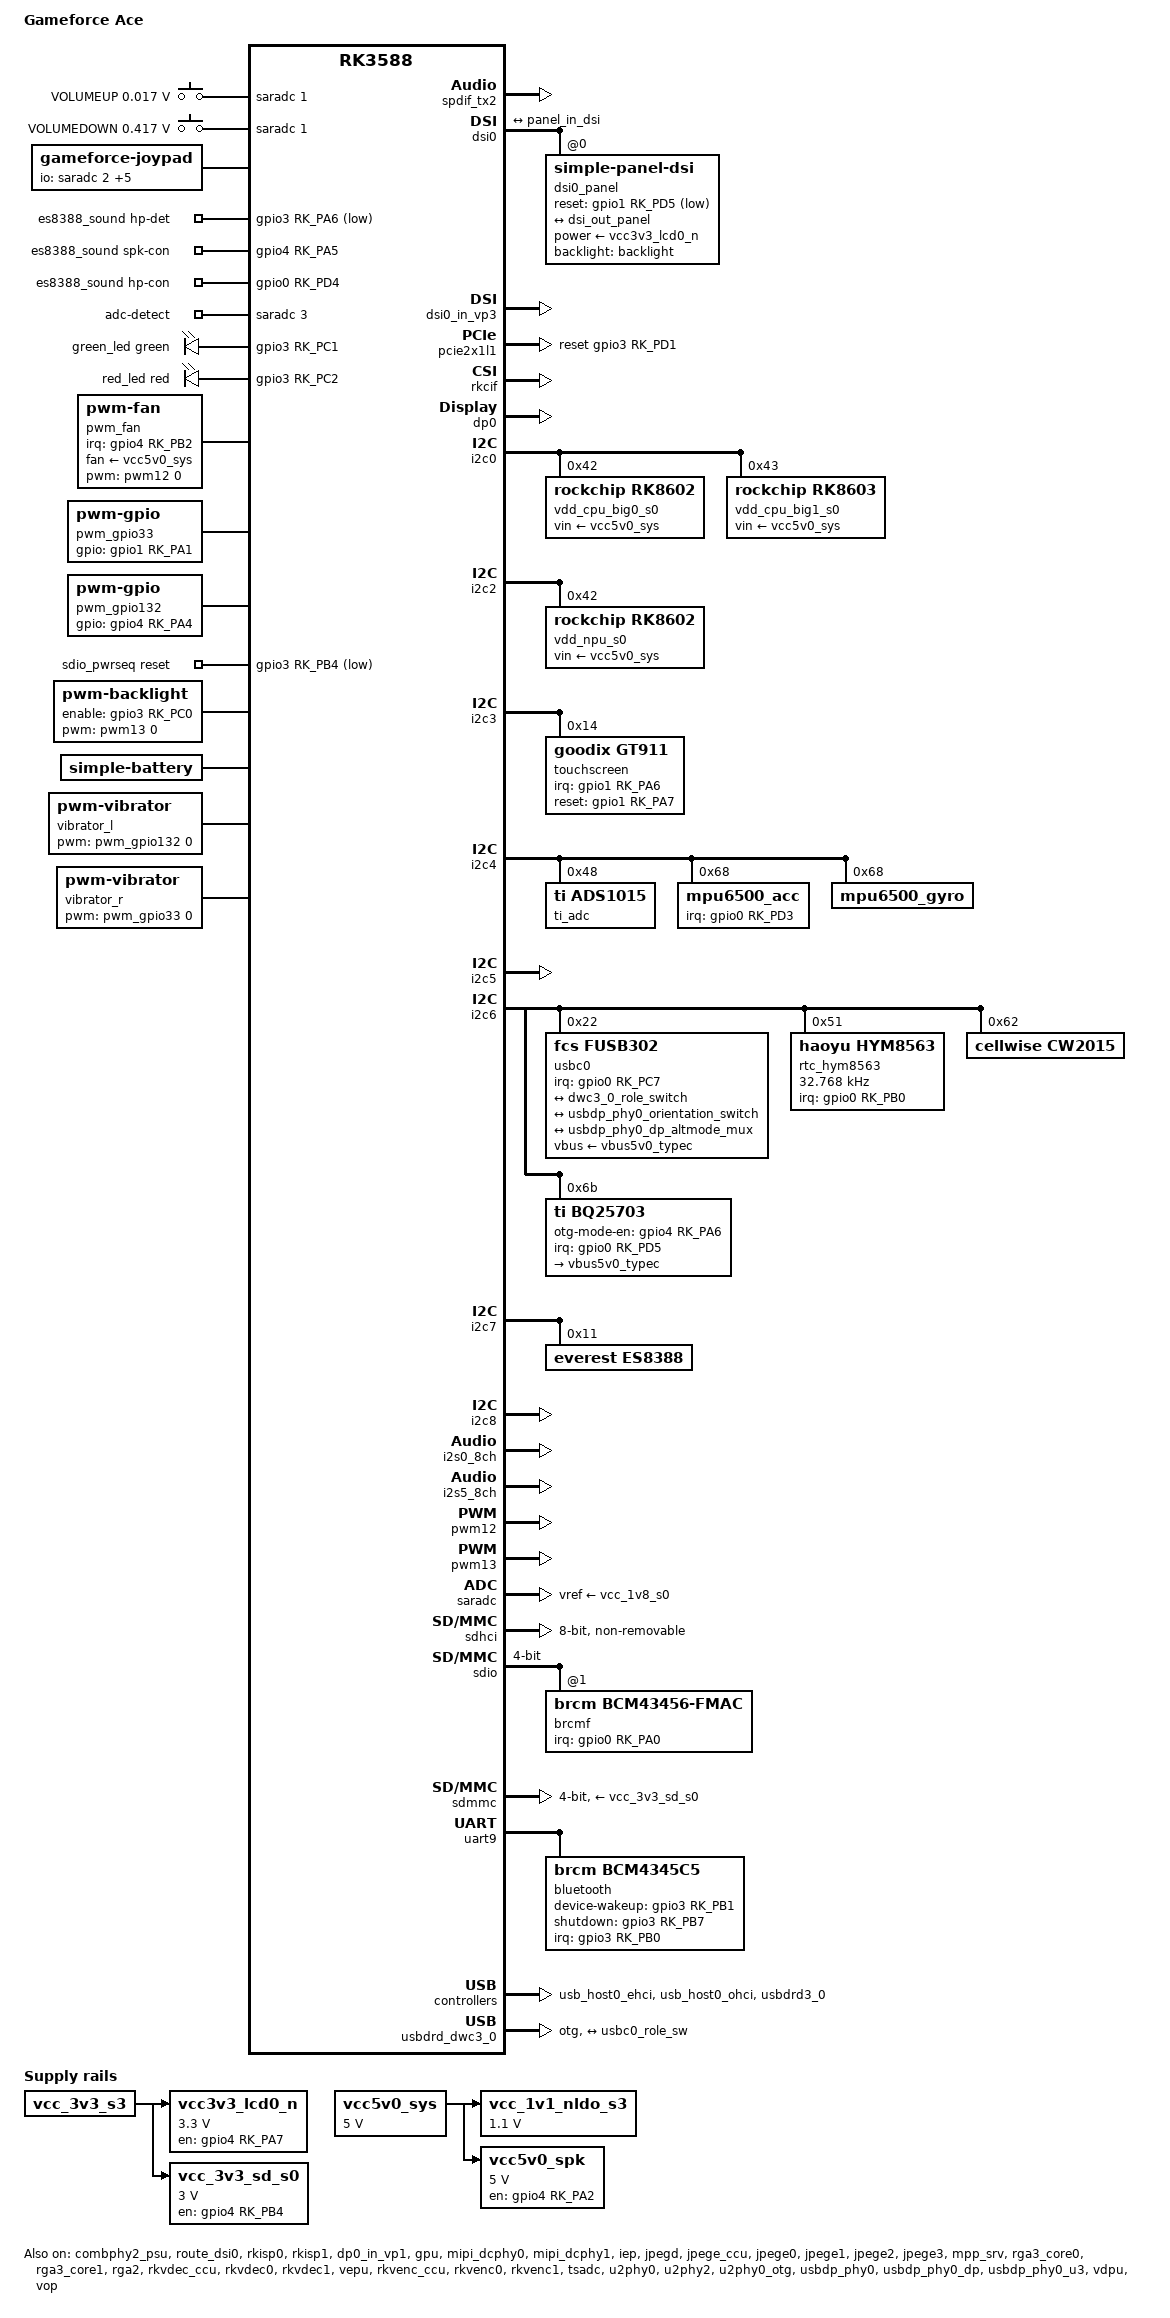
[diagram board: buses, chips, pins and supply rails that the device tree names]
// SPDX-License-Identifier: (GPL-2.0+ OR MIT)
/*
 * Copyright (c) 2021 Rockchip Electronics Co., Ltd.
 * Copyright (c) 2024 Romain Tisserand (https://github.com/rtissera)
 * Copyright (c) 2024 r3claimer (https://github.com/r3claimer)
 * Copyright (c) 2024 Juliano Dorigão (https://github.com/jdorigao)
 *
 */

/dts-v1/;

#include <dt-bindings/gpio/gpio.h>
#include <dt-bindings/input/linux-event-codes.h>
#include <dt-bindings/display/drm_mipi_dsi.h>
#include <dt-bindings/display/rockchip_vop.h>
#include <dt-bindings/sensor-dev.h>
#include <dt-bindings/leds/common.h>
#include <dt-bindings/pinctrl/rockchip.h>
#include <dt-bindings/pwm/pwm.h>
#include <dt-bindings/usb/pd.h>
#include "rockchip/rk3588s.dtsi"
#include "rockchip/rk3588-rk806-single.dtsi"

/ {
	model = "Gameforce Ace";
    chassis-type = "handset";
	compatible = "gameforce,ace", "rockchip,rk3588";

	aliases {
		mmc0 = &sdhci;
		mmc1 = &sdmmc;
		mmc2 = &sdio;
	};

    chosen {
		stdout-path = "serial2:1500000n8";
	};

    adc_keys: adc-keys {
		compatible = "adc-keys";
		io-channels = <&saradc 1>;
		io-channel-names = "buttons";
		keyup-threshold-microvolt = <1800000>;
		poll-interval = <60>;

		button-vol-up {
			label = "VOLUMEUP";
			linux,code = <KEY_VOLUMEUP>;
			press-threshold-microvolt = <17000>;
		};

		button-vol-down {
			label = "VOLUMEDOWN";
			linux,code = <KEY_VOLUMEDOWN>;
			press-threshold-microvolt = <417000>;
		};
	};

    joypad: gameforce-ace-joypad {
		compatible = "gameforce-joypad";
		poll-interval = <10>;
		status = "okay";

		joypad-name = "GameForce ACE Gamepad";
		joypad-product = <0x1000>;
		joypad-revision = <0x0100>;

		/* Analog sticks */
		io-channels = <&saradc 2>, <&saradc 3>, <&saradc 4>, <&saradc 5>, <&ti_adc 6>, <&ti_adc 7>;
		io-channel-names = "key-RY", "key-RX", "key-X", "key-Y", "key-Z", "key-RZ";
		button-adc-scale = <4>;
		button-adc-deadzone = <150>;
		button-adc-fuzz = <32>;
		button-adc-flat = <32>;
		abs_x-p-tuning = <350>;
		abs_x-n-tuning = <350>;
		abs_y-p-tuning = <350>;
		abs_y-n-tuning = <350>;
		abs_z-p-tuning = <350>;
		abs_z-n-tuning = <350>;
		abs_rx-p-tuning = <350>;
		abs_rx-n-tuning = <350>;
		abs_ry-p-tuning = <350>;
		abs_ry-n-tuning = <350>;
		abs_rz-p-tuning = <350>;
		abs_rz-n-tuning = <350>;

		/* Buttons */
		sw1 {
			gpios = <&gpio1 RK_PA0 0x01>;
			label = "GPIO Key MODE";
			linux,code = <BTN_MODE>;
		};
		sw2 {
			gpios = <&gpio1 RK_PB0 0x01>;
			label = "GPIO Key HOME";
			linux,code = <BTN_C>;
		};
		sw3 {
			gpios = <&gpio1 RK_PB6 0x01>;
			label = "GPIO Key START";
			linux,code = <BTN_START>;
		};
		sw4 {
			gpios = <&gpio1 RK_PA3 0x01>;
			label = "GPIO Key SELECT";
			linux,code = <BTN_SELECT>;
		};
		sw5 {
			gpios = <&gpio1 RK_PA2 0x01>;
			label = "GPIO Key Up";
			linux,code = <BTN_DPAD_UP>;
		};
		sw6 {
			gpios =  <&gpio1 RK_PB1 0x01>;
			label = "GPIO Key Down";
			linux,code = <BTN_DPAD_DOWN>;
		};
		sw7 {
			gpios = <&gpio1 RK_PD7 0x01>;
			label = "GPIO Key Left";
			linux,code = <BTN_DPAD_LEFT>;
		};
		sw8 {
			gpios = <&gpio1 RK_PB7 0x01>;
			label = "GPIO Key Right";
			linux,code = <BTN_DPAD_RIGHT>;
		};
		sw9 {
			gpios = <&gpio1 RK_PB4 0x01>;
			label = "GPIO Key X";
			linux,code = <BTN_NORTH>;
		};
		sw10 {
			gpios = <&gpio1 RK_PB3 0x01>;
			label = "GPIO Key Y";
			linux,code = <BTN_WEST>;
		};
		sw11 {
			gpios = <&gpio1 RK_PC6 0x01>;
			label = "GPIO Key B";
			linux,code = <BTN_EAST>;
		};
		sw12 {
			gpios = <&gpio1 RK_PA5 0x01>;
			label = "GPIO Key A";
			linux,code = <BTN_SOUTH>;
		};
		sw13 {
			gpios = <&gpio1 RK_PA4 0x01>;
			label = "GPIO Key THU";
			linux,code = <BTN_THUMBL>;
		};
		sw14 {
			gpios = <&gpio1 RK_PB5 0x01>;
			label = "GPIO Key TL";
			linux,code = <BTN_TL>;
		};
		sw15 {
			gpios = <&gpio1 RK_PB2 0x01>;
			label = "GPIO Key TR";
			linux,code = <BTN_TR>;
		};
		sw16 {
			gpios = <&gpio1 RK_PD6 0x01>;
			label = "GPIO Key THUMBR";
			linux,code = <BTN_THUMBR>;
		};
	};

    es8388_sound: es8388-sound {
		status = "okay";
		compatible = "rockchip,multicodecs-card","everest,es8388";
		rockchip,card-name = "rockchip,es8388-codec";
		hp-det-gpio = <&gpio3 RK_PA6 GPIO_ACTIVE_LOW>;
		io-channels = <&saradc 3>;
		io-channel-names = "adc-detect";
		keyup-threshold-microvolt = <1800000>;
		poll-interval = <100>;
		spk-con-gpio = <&gpio4 RK_PA5 GPIO_ACTIVE_HIGH>;
		hp-con-gpio = <&gpio0 RK_PD4 GPIO_ACTIVE_HIGH>;
		rockchip,format = "i2s";
		rockchip,mclk-fs = <256>;
		rockchip,cpu = <&i2s0_8ch>;
		rockchip,codec = <&es8388>;
		spk-volume = <50>;
		spk-volume-l = <50>;
		spk-volume-r = <50>;
        use-ext-amplifier;
		hp-volume = <20>;
		out-l2spk-r2hp;

		rockchip,audio-routing =
			"Headphone", "LOUT1",
			"Headphone", "ROUT1",
			"Speaker", "LOUT2",
			"Speaker", "ROUT2",
			"Headphone", "Headphone Power",
			"Headphone", "Headphone Power",
			"Speaker", "Speaker Power",
			"Speaker", "Speaker Power",
			"LINPUT1", "Main Mic",
			"LINPUT2", "Main Mic",
			"RINPUT1", "Headset Mic",
			"RINPUT2", "Headset Mic";

		pinctrl-names = "default";
		pinctrl-0 = <&hp_det>;
		play-pause-key {
			label = "playpause";
			linux,code = <KEY_PLAYPAUSE>;
			press-threshold-microvolt = <2000>;
		};
	};

    gpio_leds: gpio-leds {
		compatible = "gpio-leds";
		pinctrl-names = "default";
		pinctrl-0 = <&led_pins>;

		green_led: led-0 {
			color = <LED_COLOR_ID_GREEN>;
			gpios = <&gpio3 RK_PC1 GPIO_ACTIVE_HIGH>;
			function = LED_FUNCTION_STATUS;
		};

		red_led: led-1 {
			color = <LED_COLOR_ID_RED>;
			gpios = <&gpio3 RK_PC2 GPIO_ACTIVE_HIGH>;
			function = LED_FUNCTION_CHARGING;
		};
	};

	pwm_fan: pwm-fan {
		compatible = "pwm-fan";
		#cooling-cells = <2>;
		cooling-levels = <0 120 150 180 210 240 255>;
		fan-supply = <&vcc5v0_sys>;
		interrupt-parent = <&gpio4>;
		interrupts = <RK_PB2 IRQ_TYPE_EDGE_RISING>;
		pulses-per-revolution = <4>;
		pwms = <&pwm12 0 50000 PWM_POLARITY_INVERTED>;
	};

    pwm_gpio33: pwm-33 {
		compatible = "pwm-gpio";
		gpios = <&gpio1 RK_PA1 GPIO_ACTIVE_HIGH>;
		pinctrl-0 = <&vib_right_h>;
		pinctrl-names = "default";
		#pwm-cells = <3>;
	};

	pwm_gpio132: pwm-132 {
		compatible = "pwm-gpio";
		gpios = <&gpio4 RK_PA4 GPIO_ACTIVE_HIGH>;
		pinctrl-0 = <&vib_left_h>;
		pinctrl-names = "default";
		#pwm-cells = <3>;
	};

	sdio_pwrseq: sdio-pwrseq {
		compatible = "mmc-pwrseq-simple";
		clock-names = "ext_clock";
		clocks = <&rtc_hym8563>;
		pinctrl-0 = <&wifi_enable_h>;
		pinctrl-names = "default";
		post-power-on-delay-ms = <200>;
		power-off-delay-us = <5000000>;
		reset-gpios = <&gpio3 RK_PB4 GPIO_ACTIVE_LOW>;
	};

	backlight: backlight {
		compatible = "pwm-backlight";
		enable-gpios = <&gpio3 RK_PC0 GPIO_ACTIVE_HIGH>;
		pinctrl-0 = <&lcd_bl_en>;
		pinctrl-names = "default";
		pwms = <&pwm13 0 25000 PWM_POLARITY_INVERTED>;
	};

    battery: battery {
		compatible = "simple-battery";
		charge-full-design-microamp-hours = <3700000>;
		constant-charge-current-max-microamp = <2500000>;
		constant-charge-voltage-max-microvolt = <8750000>;
		voltage-min-design-microvolt = <7400000>;
	};

	vibrator_l: vibrator-l {
		compatible = "pwm-vibrator";
		pwm-names = "enable";
		pwms = <&pwm_gpio132 0 20000000 0>;
	};

	vibrator_r: vibrator-r {
		compatible = "pwm-vibrator";
		pwm-names = "enable";
		pwms = <&pwm_gpio33 0 20000000 0>;
	};

	vcc_1v1_nldo_s3: regulator-vcc-1v1-nldo-s3 {
		compatible = "regulator-fixed";
		regulator-always-on;
		regulator-boot-on;
		regulator-max-microvolt = <1100000>;
		regulator-min-microvolt = <1100000>;
		regulator-name = "vcc_1v1_nldo_s3";
		vin-supply = <&vcc5v0_sys>;
	};

	vcc3v3_lcd0_n: regulator-vcc3v3-lcd0-n {
		compatible = "regulator-fixed";
		enable-active-high;
		gpio = <&gpio4 RK_PA7 GPIO_ACTIVE_HIGH>;
		pinctrl-0 = <&vcc_lcd_h>;
		pinctrl-names = "default";
		regulator-max-microvolt = <3300000>;
		regulator-min-microvolt = <3300000>;
		regulator-name = "vcc3v3_lcd0_n";
		vin-supply = <&vcc_3v3_s3>;
		regulator-state-mem {
			regulator-off-in-suspend;
		};
	};

	vcc_3v3_sd_s0: regulator-vcc-3v3-sd-s0 {
		compatible = "regulator-fixed";
		enable-active-high;
		gpio = <&gpio4 RK_PB4 GPIO_ACTIVE_HIGH>;
		pinctrl-0 = <&sd_s0_pwr>;
		pinctrl-names = "default";
		regulator-max-microvolt = <3000000>;
		regulator-min-microvolt = <3000000>;
		regulator-name = "vcc_3v3_sd_s0";
		vin-supply = <&vcc_3v3_s3>;
	};

	vcc5v0_spk: regulator-vcc5v0-spk {
		compatible = "regulator-fixed";
		enable-active-high;
		gpio = <&gpio4 RK_PA2 GPIO_ACTIVE_HIGH>;
		pinctrl-0 = <&vcc5v0_spk_pwr>;
		pinctrl-names = "default";
		regulator-max-microvolt = <5000000>;
		regulator-min-microvolt = <5000000>;
		regulator-name = "vcc5v0_spk";
		vin-supply = <&vcc5v0_sys>;
		regulator-state-mem {
			regulator-off-in-suspend;
		};
	};

	vcc5v0_sys: regulator-vcc5v0-sys {
		compatible = "regulator-fixed";
		regulator-always-on;
		regulator-boot-on;
		regulator-max-microvolt = <5000000>;
		regulator-min-microvolt = <5000000>;
		regulator-name = "vcc5v0_sys";
	};
};

&combphy2_psu {
	status = "okay";
};

&cpu_l0 {
	cpu-supply = <&vdd_cpu_lit_s0>;
};

&cpu_l1 {
	cpu-supply = <&vdd_cpu_lit_s0>;
};

&cpu_l2 {
	cpu-supply = <&vdd_cpu_lit_s0>;
};

&cpu_l3 {
	cpu-supply = <&vdd_cpu_lit_s0>;
};

&cpu_b0 {
	cpu-supply = <&vdd_cpu_big0_s0>;
};

&cpu_b1 {
	cpu-supply = <&vdd_cpu_big0_s0>;
};

&cpu_b2 {
	cpu-supply = <&vdd_cpu_big1_s0>;
};

&cpu_b3 {
	cpu-supply = <&vdd_cpu_big1_s0>;
};

&spdif_tx2{
    status = "okay";
};

&dsi0 {
	status = "okay";
	dsi0_panel: panel@0 {
		status = "okay";
		compatible = "simple-panel-dsi";
		reg = <0>;
		backlight = <&backlight>;
		reset-delay-ms = <120>;
		enable-delay-ms = <120>;
		init-delay-ms = <120>;
		stbyb-delay-ms = <120>;
		prepare-delay-ms = <120>;
		unprepare-delay-ms = <120>;
		disable-delay-ms = <120>;
		dsi,flags = <(MIPI_DSI_MODE_VIDEO | MIPI_DSI_MODE_VIDEO_BURST | MIPI_DSI_MODE_LPM)>;
		dsi,format = <MIPI_DSI_FMT_RGB888>;
		dsi,lanes  = <4>;
		width-mm = <68>;
		height-mm = <120>;
		rotation = <90>;
		panel-init-sequence = [
			39 00 04 B9 FF 83 99
			15 00 02 D2 77
			39 00 10 B1 02 04 74 94 01 32 33 11 11 AB 4D 56 73 02 02
			39 00 10 B2 00 80 80 AE 05 07 5A 11 00 00 10 1E 70 03 D4
			39 00 2d B4 00 FF 02 C0 02 C0 00 00 08 00 04 06 00 32 04 0A 08 21 03 01 00 0F B8 8B 02 C0 02 C0 00 00 08 00 04 06 00 32 04 0A 08 01 00 0F B8 01
			39 00 22 D3 00 00 00 00 00 00 06 00 00 10 04 00 04 00 00 00 00 00 00 00 00 00 00 01 00 05 05 07 00 00 00 05 40
			39 00 21 D5 18 18 19 19 18 18 21 20 01 00 07 06 05 04 03 02 18 18 18 18 18 18 2F 2F 30 30 31 31 18 18 18 18
			39 00 21 D6 18 18 19 19 40 40 20 21 02 03 04 05 06 07 00 01 40 40 40 40 40 40 2F 2F 30 30 31 31 40 40 40 40
			39 00 11 D8 A2 AA 02 A0 A2 A8 02 A0 B0 00 00 00 B0 00 00 00
			15 00 02 BD 01
			39 00 11 D8 B0 00 00 00 B0 00 00 00 E2 AA 03 F0 E2 AA 03 F0
			15 00 02 BD 02
			39 00 09 D8 E2 AA 03 F0 E2 AA 03 F0
			15 00 02 BD 00
			39 00 03 B6 7A 7A
			39 00 37 E0 00 18 27 24 5A 68 79 78 81 8A 92 99 9E A7 AF B4 B9 C3 C7 D1 C6 D4 D5 6C 67 71 77 00 00 18 27 24 5A 68 79 78 81 8A 92 99 9E A7 AF B4 B9 C3 C7 D1 C6 D4 D5 6C 67 77
			39 00 03 C6 FF F9
			15 00 02 CC 08
			05 78 01 11
			05 14 01 29
		];

		panel-exit-sequence = [
			05 00 01 28
			05 00 01 10
		];

		disp_timings0: display-timings {
			native-mode = <&dsi0_timing0>;
			dsi0_timing0: timing0 {
				clock-frequency = <134920000>;
				hactive = <1080>;
				vactive = <1920>;
				hfront-porch = <32>;
				hsync-len = <8>;
				hback-porch = <32>;
				vfront-porch = <16>;
				vsync-len = <2>;
				vback-porch = <14>;
				hsync-active = <0>;
				vsync-active = <0>;
				de-active = <0>;
				pixelclk-active = <1>;
			};
		};

		ports {
			#address-cells = <1>;
			#size-cells = <0>;

			port@0 {
				reg = <0>;
				panel_in_dsi: endpoint {
					remote-endpoint = <&dsi_out_panel>;
				};
			};
		};
	};

	ports {
		#address-cells = <1>;
		#size-cells = <0>;

		port@1 {
			reg = <1>;
			dsi_out_panel: endpoint {
				remote-endpoint = <&panel_in_dsi>;
			};
		};
	};

};

&dsi0_in_vp3 {
	status = "okay";
};

&route_dsi0 {
	status = "okay";
};

&dsi0_panel {
	power-supply = <&vcc3v3_lcd0_n>;
	reset-gpios = <&gpio1 RK_PD5 GPIO_ACTIVE_LOW>;
	pinctrl-names = "default";
	pinctrl-0 = <&lcd_rst_gpio>;
};

&pcie2x1l1 {
	reset-gpios = <&gpio3 RK_PD1 GPIO_ACTIVE_HIGH>;
	status = "okay";
};

&combphy2_psu {
    status = "okay";
};

&csi2_dphy0_hw {
	status = "disabled";
};

&csi2_dcphy0 {
	status = "disabled";
};

&mipi0_csi2 {
	status = "disabled";
};

&rkcif_mipi_lvds {
	status = "disabled";
};

&rkcif_mipi_lvds_sditf {
	status = "disabled";
};

&rkisp0_vir0 {
	status = "disabled";
};

&csi2_dcphy1 {
	status = "disabled";
};

&mipi1_csi2{
	status = "disabled";
};

&rkcif_mipi_lvds1 {
	status = "disabled";
};

&rkcif_mipi_lvds1_sditf {
	status = "disabled";
};

&rkisp0_vir1 {
	status = "disabled";
};

&csi2_dphy0 {
	status = "disabled";
};

&mipi2_csi2 {
	status = "disabled";
};

&rkcif_mipi_lvds2 {
	status = "disabled";
};

&rkcif_mipi_lvds2_sditf {
	status = "disabled";
};

&rkisp1_vir1 {
	status = "disabled";
};

&rkcif {
	status = "okay";
};

&rkcif_mmu {
	status = "okay";
};

&rkisp0 {
	status = "okay";
};

&rkisp1 {
	status = "okay";
};

&isp0_mmu {
	status = "okay";
};

&isp1_mmu {
	status = "okay";
};

&dp0 {
	status = "okay";

};
&dp0_in_vp1 {
	status = "okay";
};

&gpu {
	mali-supply = <&vdd_gpu_s0>;
	mem-supply = <&vdd_gpu_mem_s0>;
	upthreshold = <60>;
	downdifferential = <30>;
	status = "okay";
};

&i2c0 {
	status = "okay";
	pinctrl-names = "default";
	pinctrl-0 = <&i2c0m2_xfer>;

	vdd_cpu_big0_s0: vdd_cpu_big0_mem_s0: rk8602@42 {
		compatible = "rockchip,rk8602";
		reg = <0x42>;
		vin-supply = <&vcc5v0_sys>;
		regulator-compatible = "rk860x-reg";
		regulator-name = "vdd_cpu_big0_s0";
		regulator-min-microvolt = <550000>;
		regulator-max-microvolt = <1050000>;
		regulator-ramp-delay = <2300>;
		rockchip,suspend-voltage-selector = <1>;
		regulator-boot-on;
		regulator-always-on;
		regulator-state-mem {
			regulator-off-in-suspend;
		};
	};

	vdd_cpu_big1_s0: vdd_cpu_big1_mem_s0: rk8603@43 {
		compatible = "rockchip,rk8603";
		reg = <0x43>;
		vin-supply = <&vcc5v0_sys>;
		regulator-compatible = "rk860x-reg";
		regulator-name = "vdd_cpu_big1_s0";
		regulator-min-microvolt = <550000>;
		regulator-max-microvolt = <1050000>;
		regulator-ramp-delay = <2300>;
		rockchip,suspend-voltage-selector = <1>;
		regulator-boot-on;
		regulator-always-on;
		regulator-state-mem {
			regulator-off-in-suspend;
		};
	};
};

&i2c2 {
	status = "okay";

	vdd_npu_s0: vdd_npu_mem_s0: rk8602@42 {
		compatible = "rockchip,rk8602";
		reg = <0x42>;
		vin-supply = <&vcc5v0_sys>;
		regulator-compatible = "rk860x-reg";
		regulator-name = "vdd_npu_s0";
		regulator-min-microvolt = <550000>;
		regulator-max-microvolt = <950000>;
		regulator-ramp-delay = <2300>;
		rockchip,suspend-voltage-selector = <1>;
		regulator-boot-on;
		regulator-always-on;
		regulator-state-mem {
			regulator-off-in-suspend;
		};
	};
};

&i2c3 {
	status = "okay";

	touchscreen@14 {
		compatible = "goodix,gt911";
		reg = <0x14>;
		interrupt-parent = <&gpio1>;
		interrupts = <RK_PA6 IRQ_TYPE_LEVEL_LOW>;
		irq-gpios = <&gpio1 RK_PA6 GPIO_ACTIVE_HIGH>;
		pinctrl-0 = <&touch_int>, <&touch_rst>;
		pinctrl-names = "default";
		reset-gpios = <&gpio1 RK_PA7 GPIO_ACTIVE_HIGH>;
		touchscreen-size-x = <1080>;
		touchscreen-size-y = <1920>;
	};
};

&i2c4 {
	pinctrl-0 = <&i2c4m2_xfer>;
	status = "okay";

	ti_adc: adc@48 {
		compatible = "ti,ads1015";
		reg = <0x48>;
		#address-cells = <1>;
		#io-channel-cells = <1>;
		#size-cells = <0>;

		channel@4 {
			reg = <4>;
		};

		channel@5 {
			reg = <5>;
		};

		channel@6 {
			reg = <6>;
		};

		channel@7 {
			reg = <7>;
		};
	};

	mpu6500_acc: mpu_acc@68 {
		status = "okay";
		compatible = "mpu6500_acc";
		reg = <0x68>;
		irq-gpio = <&gpio0 RK_PD3 IRQ_TYPE_EDGE_RISING>;
		irq_enable = <0>;
		poll_delay_ms = <30>;
		type = <SENSOR_TYPE_ACCEL>;
		layout = <2>;
	};

    mpu6500_gyro: mpu_gyro@68 {
		status = "okay";
		compatible = "mpu6500_gyro";
		reg = <0x68>;
		poll_delay_ms = <30>;
		type = <SENSOR_TYPE_GYROSCOPE>;
		layout = <1>;
	};
};


&i2c5 {
	status = "okay";
	pinctrl-names = "default";
	pinctrl-0 = <&i2c5m3_xfer>;
};

&i2c6 {
	status = "okay";
	pinctrl-names = "default";
	pinctrl-0 = <&i2c6m3_xfer>;

	usbc0: fusb302@22 {
		compatible = "fcs,fusb302";
		reg = <0x22>;
		interrupt-parent = <&gpio0>;
		interrupts = <RK_PC7 IRQ_TYPE_LEVEL_LOW>;
		pinctrl-names = "default";
		pinctrl-0 = <&usbc0_int>;
		vbus-supply = <&vbus5v0_typec>;
		charge-dev = <&bq25703>;
		status = "okay";
		ports {
			#address-cells = <1>;
			#size-cells = <0>;
			port@0 {
				reg = <0>;
				usbc0_role_sw: endpoint@0 {
					remote-endpoint = <&dwc3_0_role_switch>;
				};
			};
		};

		usb_con: connector {
			compatible = "usb-c-connector";
			label = "USB-C";
			data-role = "dual";
			power-role = "dual";
			try-power-role = "sink";
			op-sink-microwatt = <1000000>;
			sink-pdos =
				<PDO_FIXED(5000, 3000, PDO_FIXED_USB_COMM)
				 PDO_FIXED(9000, 3000, PDO_FIXED_USB_COMM)
				 PDO_FIXED(12000, 3000, PDO_FIXED_USB_COMM)>;
			source-pdos =
				<PDO_FIXED(5000, 3000, PDO_FIXED_USB_COMM)>;
			altmodes {
				#address-cells = <1>;
				#size-cells = <0>;

				altmode@0 {
					reg = <0>;
					svid = <0xff01>;
					vdo = <0xffffffff>;
				};
			};

			ports {
				#address-cells = <1>;
				#size-cells = <0>;
				port@0 {
					reg = <0>;
					usbc0_orien_sw: endpoint {
						remote-endpoint = <&usbdp_phy0_orientation_switch>;
					};
				};
				port@1 {
					reg = <1>;
					dp_altmode_mux: endpoint {
						remote-endpoint = <&usbdp_phy0_dp_altmode_mux>;
					};
				};
			};
		};
	};

	rtc_hym8563: hym8563@51 {
		compatible = "haoyu,hym8563";
		reg = <0x51>;
		#clock-cells = <0>;
		clock-frequency = <32768>;
		clock-output-names = "hym8563";
		pinctrl-names = "default";
		pinctrl-0 = <&rtc_int>;
		interrupt-parent = <&gpio0>;
		interrupts = <RK_PB0 IRQ_TYPE_LEVEL_LOW>;
		wakeup-source;
	};

	cw2015@62 {
		status = "okay";
		compatible = "cellwise,cw2015";
		reg = <0x62>;

		cellwise,battery-profile = /bits/ 8
			<0x18 0x0A 0x76 0x6A 0x6A 0x6A 0x68 0x66
			 0x62 0x5E 0x5A 0x58 0x5F 0x59 0x46 0x3D
			 0x35 0x2D 0x28 0x21 0x29 0x38 0x44 0x50
			 0x1A 0x85 0x07 0xAE 0x14 0x28 0x48 0x56
			 0x66 0x66 0x66 0x6A 0x3E 0x1A 0x6C 0x3D
			 0x09 0x38 0x1A 0x49 0x7B 0x96 0xA2 0x15
			 0x3B 0x77 0x9A 0xB1 0x80 0x87 0xB0 0xCB
			 0x2F 0x00 0x64 0xA5 0xB5 0x1C 0xF0 0x49>;
		cellwise,dual-cell = <1>;
		cellwise,monitor-interval-ms = <5000>;
		power-supplies = <&bq25703>;
	};

	bq25703: bq25703@6b {
		status = "okay";
		compatible = "ti,bq25703";
		reg = <0x6b>;
		ti,usb-charger-detection = <&usbc0>;

		interrupt-parent = <&gpio0>;
		interrupts = <RK_PD5 IRQ_TYPE_EDGE_FALLING>;
		otg-mode-en-gpios = <&gpio4 RK_PA6 GPIO_ACTIVE_HIGH>;
		pinctrl-names = "default";
		pinctrl-0 = <&charger_ok>;
		extcon = <&u2phy0>;
		ti,charge-current = <2500000>;
		ti,max-input-voltage = <20000000>;
		ti,max-input-current = <60000000>;
		ti,max-charge-voltage = <8750000>;
		ti,input-current = <10000000>;
		ti,input-current-sdp = <5000000>;
		ti,input-current-dcp = <2500000>;
		ti,input-current-cdp = <2500000>;
		ti,minimum-sys-voltage = <7400000>;
		ti,otg-voltage = <5000000>;
		ti,otg-current = <1500000>;
		pd-charge-only = <0>;
		regulators {
			vbus5v0_typec: vbus5v0-typec {
				regulator-compatible = "otg-vbus";
				regulator-name = "vbus5v0_typec";
			};
		};
	};
};

&i2c7 {
	status = "okay";
	pinctrl-names = "default";
	pinctrl-0 = <&i2c7m0_xfer>;
	es8388: es8388@11 {
		status = "okay";
		#sound-dai-cells = <0>;
		compatible = "everest,es8388", "everest,es8323";
		reg = <0x11>;
		clocks = <&mclkout_i2s0>;
		clock-names = "mclk";
		assigned-clocks = <&mclkout_i2s0>;
		assigned-clock-rates = <12288000>;
		pinctrl-names = "default";
		pinctrl-0 = <&i2s0_mclk>;
	};
};

&i2c8 {
	status = "okay";
	pinctrl-names = "default";
	pinctrl-0 = <&i2c8m2_xfer>;

};
&i2s0_8ch {
	status = "okay";
	pinctrl-0 = <&i2s0_lrck
                &i2s0_sclk
                &i2s0_sdi0
                &i2s0_sdo0>;
};

&i2s5_8ch {
	status = "okay";
};

&mipi_dcphy0 {
	status = "okay";
};

&mipi_dcphy1 {
	status = "okay";
};

&iep {
	status = "okay";
};

&iep_mmu {
	status = "okay";
};

&jpegd {
	status = "okay";
};

&jpegd_mmu {
	status = "okay";
};

&jpege_ccu {
	status = "okay";
};

&jpege0 {
	status = "okay";
};

&jpege0_mmu {
	status = "okay";
};

&jpege1 {
	status = "okay";
};

&jpege1_mmu {
	status = "okay";
};

&jpege2 {
	status = "okay";
};

&jpege2_mmu {
	status = "okay";
};

&jpege3 {
	status = "okay";
};

&jpege3_mmu {
	status = "okay";
};

&sata0 {
    status = "disabled";
};

&sata2 {
    status = "disabled";
};

&mpp_srv {
	status = "okay";
};

&pdm0 {
	rockchip,path-map = <2 0 1 3>;
	status = "disabled";
};

&pinctrl {
	bt {
		bt_enable_h: bt-enable-h {
			rockchip,pins =
				<3 RK_PB7 RK_FUNC_GPIO &pcfg_pull_none>;
		};

		bt_host_wake_l: bt-host-wake-l {
			rockchip,pins =
				<3 RK_PB0 RK_FUNC_GPIO &pcfg_pull_down>;
		};

		bt_wake_l: bt-wake-l {
			rockchip,pins =
				<3 RK_PB1 RK_FUNC_GPIO &pcfg_pull_up>;
		};
	};

	charger {
		charger_ok: charger_ok {
			rockchip,pins = <0 RK_PD5 RK_FUNC_GPIO &pcfg_pull_up>;
		};
	};

	hym8563 {
		rtc_int: rtc-int {
			rockchip,pins = <0 RK_PB0 RK_FUNC_GPIO &pcfg_pull_up>;
		};
	};

    gpio-leds {
		led_pins: led-pins {
			rockchip,pins =
				<3 RK_PC1 RK_FUNC_GPIO &pcfg_pull_up>,
				<3 RK_PC2 RK_FUNC_GPIO &pcfg_pull_up>;
		};
	};

	lcd_bl_en {
		lcd_bl_en: lcd-bl-en {
			rockchip,pins = <3 RK_PC0 RK_FUNC_GPIO &pcfg_pull_none>;
		};
	};

	lcd_rst_gpio {
		lcd_rst_gpio: lcd-rst-gpio {
			rockchip,pins = <1 RK_PD5 RK_FUNC_GPIO &pcfg_pull_none>;
		};
	};

	sdmmc {
		sd_s0_pwr: sd-s0-pwr {
			rockchip,pins = <4 RK_PB4 RK_FUNC_GPIO &pcfg_pull_up>;
		};
	};

	spk-pwr {
		vcc5v0_spk_pwr: vcc5v0-spk-pwr {
			rockchip,pins =
				<4 RK_PA2 RK_FUNC_GPIO &pcfg_pull_up>;
		};
	};

	headphone {
		hp_det: hp-det {
			rockchip,pins = <3 RK_PA6 RK_FUNC_GPIO &pcfg_pull_none>;
		};
	};

	touch {
		touch_int: touch-int {
			rockchip,pins =
				<1 RK_PA6 RK_FUNC_GPIO &pcfg_pull_up>;
		};

		touch_rst: touch-rst {
			rockchip,pins =
				<1 RK_PA7 RK_FUNC_GPIO &pcfg_pull_up>;
		};
	};

	usb-typec {
		usbc0_int: usbc0-int {
			rockchip,pins = <0 RK_PC7 RK_FUNC_GPIO &pcfg_pull_up>;
		};
	};

	vcc3v3-lcd {
		vcc_lcd_h: vcc-lcd-h {
			rockchip,pins =
				<4 RK_PA7 RK_FUNC_GPIO &pcfg_pull_up>;
		};
	};

    vibrator {
		vib_left_h: vib-left-h {
			rockchip,pins =
				<4 RK_PA4 RK_FUNC_GPIO &pcfg_pull_down>;
		};

		vib_right_h: vib-right-h {
			rockchip,pins =
				<1 RK_PA1 RK_FUNC_GPIO &pcfg_pull_down>;
		};
	};

    wifi {
		wifi_enable_h: wifi-enable-h {
			rockchip,pins =
				<3 RK_PB4 RK_FUNC_GPIO &pcfg_pull_up>;
		};

		wifi_host_wake_irq: wifi-host-wake-irq {
			rockchip,pins =
				<0 RK_PA0 RK_FUNC_GPIO &pcfg_pull_down>;
		};
	};

	sensor {
		mpu6500_irq_gpio: mpu6500-irq-gpio {
			rockchip,pins = <1 RK_PD3 RK_FUNC_GPIO &pcfg_pull_none>;
		};

		mh248_irq_gpio: mh248-irq-gpio {
			rockchip,pins = <0 RK_PD3 RK_FUNC_GPIO &pcfg_pull_up>;
		};
	};
};

&pwm12 {
	status = "okay";
	pinctrl-names = "active";
	pinctrl-0 = <&pwm12m1_pins>;
};

&pwm13 {
	pinctrl-0 = <&pwm13m1_pins>;
	status = "okay";
};

&rga3_core0 {
	status = "okay";
};

&rga3_0_mmu {
	status = "okay";
};

&rga3_core1 {
	status = "okay";
};

&rga3_1_mmu {
	status = "okay";
};

&rga2 {
	status = "okay";
};

&rknpu {
	rknpu-supply = <&vdd_npu_s0>;
	mem-supply = <&vdd_npu_mem_s0>;
	status = "disabled";
};

&rknpu_mmu {
	status = "disabled";
};

&rkvdec_ccu {
	status = "okay";
};

&rkvdec0 {
	status = "okay";
};

&rkvdec0_mmu {
	status = "okay";
};

&rkvdec1 {
	status = "okay";
};

&rkvdec1_mmu {
	status = "okay";
};

&vepu {
	status = "okay";
};

&rkvenc_ccu {
	status = "okay";
};

&rkvenc0 {
	venc-supply = <&vdd_vdenc_s0>;
	mem-supply = <&vdd_vdenc_mem_s0>;
	status = "okay";
};

&rkvenc0_mmu {
	status = "okay";
};

&rkvenc1 {
	venc-supply = <&vdd_vdenc_s0>;
	mem-supply = <&vdd_vdenc_mem_s0>;
	status = "okay";
};

&rkvenc1_mmu {
	status = "okay";
};

&rockchip_suspend {
	status = "okay";
	rockchip,sleep-debug-en = <1>;
};

&saradc {
	status = "okay";
	vref-supply = <&vcc_1v8_s0>;
};

&sdhci {
	bus-width = <8>;
	no-sdio;
	no-sd;
	non-removable;
	max-frequency = <200000000>;
	mmc-hs400-1_8v;
	mmc-hs400-enhanced-strobe;
	status = "okay";
};

&sdio {
	#address-cells = <1>;
	bus-width = <4>;
	cap-sd-highspeed;
	cap-sdio-irq;
	disable-wp;
	keep-power-in-suspend;
	max-frequency = <150000000>;
	mmc-pwrseq = <&sdio_pwrseq>;
	no-mmc;
	no-sd;
	sd-uhs-sdr104;
	#size-cells = <0>;
	status = "okay";

	brcmf: wifi@1 {
		compatible = "brcm,bcm43456-fmac", "brcm,bcm4329-fmac";
		reg = <1>;
		interrupt-parent = <&gpio0>;
		interrupts = <RK_PA0 IRQ_TYPE_LEVEL_HIGH>;
		interrupt-names = "host-wake";
		pinctrl-0 = <&wifi_host_wake_irq>;
		pinctrl-names = "default";
	};
};

&sdmmc {
	max-frequency = <150000000>;
	no-sdio;
	no-mmc;
	bus-width = <4>;
	cap-mmc-highspeed;
	cap-sd-highspeed;
	disable-wp;
	sd-uhs-sdr104;
	vmmc-supply = <&vcc_3v3_sd_s0>;
	vqmmc-supply = <&vccio_sd_s0>;
	pinctrl-names = "default";
	pinctrl-0 = <&sdmmc_bus4 &sdmmc_clk &sdmmc_cmd &sdmmc_det>;
	status = "okay";
};

&tsadc {
	status = "okay";
};

&uart9 {
	pinctrl-0 = <&uart9m2_xfer>, <&uart9m2_ctsn>, <&uart9m2_rtsn>;
	uart-has-rtscts;
	status = "okay";

	bluetooth {
		compatible = "brcm,bcm4345c5";
		clocks = <&rtc_hym8563>;
		clock-names = "lpo";
		device-wakeup-gpios = <&gpio3 RK_PB1 GPIO_ACTIVE_HIGH>;
		interrupt-parent = <&gpio3>;
		interrupts = <RK_PB0 IRQ_TYPE_EDGE_FALLING>;
		pinctrl-0 = <&bt_enable_h>, <&bt_host_wake_l>, <&bt_wake_l>;
		pinctrl-names = "default";
		shutdown-gpios = <&gpio3 RK_PB7 GPIO_ACTIVE_HIGH>;
	};
};

&u2phy0 {
	status = "okay";
};

&u2phy2 {
	status = "okay";
};

&u2phy0_otg {
	rockchip,typec-vbus-det;
	status = "okay";
};

&usb_host0_ehci {
	status = "okay";
};

&usb_host0_ohci {
	status = "okay";
};

&usbdp_phy0 {
	orientation-switch;
	svid = <0xff01>;
	sbu1-dc-gpios = <&gpio4 RK_PA0 GPIO_ACTIVE_HIGH>;
	sbu2-dc-gpios = <&gpio4 RK_PA1 GPIO_ACTIVE_HIGH>;
	status = "okay";
	port {
		#address-cells = <1>;
		#size-cells = <0>;
		usbdp_phy0_orientation_switch: endpoint@0 {
			reg = <0>;
			remote-endpoint = <&usbc0_orien_sw>;
		};

		usbdp_phy0_dp_altmode_mux: endpoint@1 {
			reg = <1>;
			remote-endpoint = <&dp_altmode_mux>;
		};
	};
};

&usbdp_phy0_dp {
	status = "okay";
};

&usbdp_phy0_u3 {
	status = "okay";
};

&usbdrd3_0 {
	status = "okay";
};

&usbdrd_dwc3_0 {
	dr_mode = "otg";
	status = "okay";

	usb-role-switch;
	port {
		#address-cells = <1>;
		#size-cells = <0>;
		dwc3_0_role_switch: endpoint@0 {
			reg = <0>;
			remote-endpoint = <&usbc0_role_sw>;
		};
	};
};

&usbhost3_0 {
	status = "disabled";
};

&usbhost_dwc3_0 {
	status = "disabled";
};

&vdpu {
	status = "okay";
};

&vdpu_mmu {
	status = "okay";
};

&vop {
	status = "okay";
};

&vop_mmu {
	status = "okay";
};

&vp0 {
	rockchip,plane-mask = <(1 << ROCKCHIP_VOP2_CLUSTER0 | 1 << ROCKCHIP_VOP2_ESMART0)>;
	rockchip,primary-plane = <ROCKCHIP_VOP2_ESMART0>;
};

&vp1 {
	rockchip,plane-mask = <(1 << ROCKCHIP_VOP2_CLUSTER1 | 1 << ROCKCHIP_VOP2_ESMART1)>;
	rockchip,primary-plane = <ROCKCHIP_VOP2_ESMART1>;
};

&vp2 {
	rockchip,plane-mask = <(1 << ROCKCHIP_VOP2_CLUSTER2 | 1 << ROCKCHIP_VOP2_ESMART2)>;
	rockchip,primary-plane = <ROCKCHIP_VOP2_ESMART2>;
};

&vp3 {
	rockchip,plane-mask = <(1 << ROCKCHIP_VOP2_CLUSTER3 | 1 << ROCKCHIP_VOP2_ESMART3)>;
	rockchip,primary-plane = <ROCKCHIP_VOP2_ESMART3>;
};
